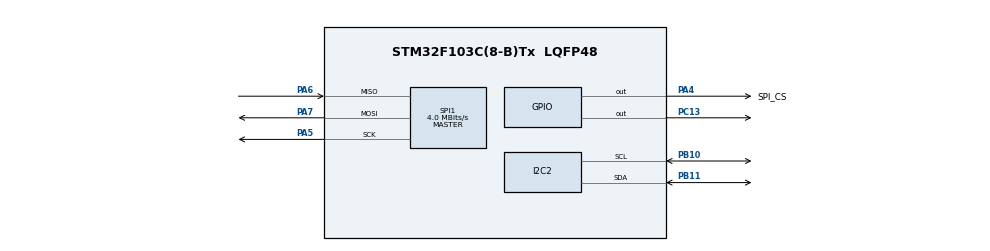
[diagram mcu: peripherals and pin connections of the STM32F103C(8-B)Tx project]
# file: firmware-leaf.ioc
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FREERTOS.Tasks01=defaultTask,24,128,StartDefaultTask,Default,NULL,Dynamic,NULL,NULL
FREERTOS.configTOTAL_HEAP_SIZE=8192
Mcu.Family=STM32F1
Mcu.Name=STM32F103C(8-B)Tx
Mcu.Package=LQFP48
NVIC.PriorityGroup=NVIC_PRIORITYGROUP_4
NVIC.TIM1_UP_IRQn=true\:15\:0\:false\:false\:true\:false\:false\:true\:true
NVIC.TimeBase=TIM1_UP_IRQn
NVIC.TimeBaseIP=TIM1
PA13.Mode=Serial_Wire
PA13.Signal=SYS_JTMS-SWDIO
PA14.Mode=Serial_Wire
PA14.Signal=SYS_JTCK-SWCLK
PA4.GPIO_Label=SPI_CS
PA4.PinState=GPIO_PIN_SET
PA4.Signal=GPIO_Output
PA5.Mode=Full_Duplex_Master
PA5.Signal=SPI1_SCK
PA6.Mode=Full_Duplex_Master
PA6.Signal=SPI1_MISO
PA7.Mode=Full_Duplex_Master
PA7.Signal=SPI1_MOSI
PB10.Mode=I2C
PB10.Signal=I2C2_SCL
PB11.Mode=I2C
PB11.Signal=I2C2_SDA
PC13-TAMPER-RTC.Signal=GPIO_Output
PC14-OSC32_IN.Mode=LSE-External-Oscillator
PC14-OSC32_IN.Signal=RCC_OSC32_IN
PC15-OSC32_OUT.Mode=LSE-External-Oscillator
PC15-OSC32_OUT.Signal=RCC_OSC32_OUT
PD0-OSC_IN.Mode=HSE-External-Oscillator
PD0-OSC_IN.Signal=RCC_OSC_IN
PD1-OSC_OUT.Mode=HSE-External-Oscillator
PD1-OSC_OUT.Signal=RCC_OSC_OUT
ProjectManager.HeapSize=0x200
ProjectManager.StackSize=0x400
ProjectManager.TargetToolchain=CMake
RCC.APB1Freq_Value=8000000
RCC.APB2Freq_Value=8000000
RCC.RTCClockSelection=RCC_RTCCLKSOURCE_LSE
RTC.OutPut=RTC_OUTPUTSOURCE_NONE
SPI1.CalculateBaudRate=4.0 MBits/s
SPI1.Direction=SPI_DIRECTION_2LINES
SPI1.Mode=SPI_MODE_MASTER
SPI1.VirtualType=VM_MASTER
VP_FREERTOS_VS_CMSIS_V2.Mode=CMSIS_V2
VP_RTC_VS_RTC_Activate.Mode=RTC_Enabled
VP_SYS_VS_tim1.Mode=TIM1
board=custom

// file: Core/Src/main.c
/* USER CODE BEGIN Header */
/**
  ******************************************************************************
  * @file           : main.c
  * @brief          : Main program body
  ******************************************************************************
  * @attention
  *
  * Copyright (c) 2026 STMicroelectronics.
  * All rights reserved.
  *
  * This software is licensed under terms that can be found in the LICENSE file
  * in the root directory of this software component.
  * If no LICENSE file comes with this software, it is provided AS-IS.
  *
  ******************************************************************************
  */
/* USER CODE END Header */
#include "main.h"
#include "cmsis_os.h"

/* USER CODE BEGIN Includes */
#include "tasks.h"
#include "power.h"
/* USER CODE END Includes */

I2C_HandleTypeDef hi2c2;

RTC_HandleTypeDef hrtc;

SPI_HandleTypeDef hspi1;

/* Definitions for defaultTask */
osThreadId_t defaultTaskHandle;
const osThreadAttr_t defaultTask_attributes = {
  .name = "defaultTask",
  .stack_size = 128 * 4,
  .priority = (osPriority_t) osPriorityNormal,
};
/* USER CODE BEGIN PV */
static SHT40_Handle_t sht_handle;
/* USER CODE END PV */

void SystemClock_Config(void);
static void MX_GPIO_Init(void);
static void MX_I2C2_Init(void);
static void MX_RTC_Init(void);
static void MX_SPI1_Init(void);
void StartDefaultTask(void *argument);

int main(void)
{

  /* MCU Configuration--------------------------------------------------------*/

  /* Reset of all peripherals, Initializes the Flash interface and the Systick. */
  HAL_Init();

  /* USER CODE BEGIN Init */
#ifdef DEBUG
  HAL_DBGMCU_EnableDBGStopMode();
#endif
  /* USER CODE END Init */

  /* Configure the system clock */
  SystemClock_Config();

  /* Initialize all configured peripherals */
  MX_GPIO_Init();
  MX_I2C2_Init();
  MX_RTC_Init();
  MX_SPI1_Init();
  /* USER CODE BEGIN 2 */
  bool init_ok = true;
  if (SHT40_Init(&sht_handle, &hi2c2, SHT40_ADDRESS) != SHT40_OK) init_ok = false;
  HAL_GPIO_WritePin(GPIOC, GPIO_PIN_13, init_ok ? GPIO_PIN_SET : GPIO_PIN_RESET);
  /* USER CODE END 2 */

  /* Init scheduler */
  osKernelInitialize();

  /* Create the thread(s) */
  /* creation of defaultTask */
  defaultTaskHandle = osThreadNew(StartDefaultTask, NULL, &defaultTask_attributes);

  /* USER CODE BEGIN RTOS_THREADS */
  if (!Tasks_Init(&sht_handle)) Error_Handler();
  /* USER CODE END RTOS_THREADS */

  /* Start scheduler */
  osKernelStart();

  /* We should never get here as control is now taken by the scheduler */

  /* Infinite loop */
  while (1)
  {

  }
}

void SystemClock_Config(void)
{
  RCC_OscInitTypeDef RCC_OscInitStruct = {0};
  RCC_ClkInitTypeDef RCC_ClkInitStruct = {0};
  RCC_PeriphCLKInitTypeDef PeriphClkInit = {0};

  /** Initializes the RCC Oscillators according to the specified parameters
  * in the RCC_OscInitTypeDef structure.
  */
  RCC_OscInitStruct.OscillatorType = RCC_OSCILLATORTYPE_HSI|RCC_OSCILLATORTYPE_LSE;
  RCC_OscInitStruct.LSEState = RCC_LSE_ON;
  RCC_OscInitStruct.HSIState = RCC_HSI_ON;
  RCC_OscInitStruct.HSICalibrationValue = RCC_HSICALIBRATION_DEFAULT;
  RCC_OscInitStruct.PLL.PLLState = RCC_PLL_NONE;
  if (HAL_RCC_OscConfig(&RCC_OscInitStruct) != HAL_OK)
  {
    Error_Handler();
  }

  /** Initializes the CPU, AHB and APB buses clocks
  */
  RCC_ClkInitStruct.ClockType = RCC_CLOCKTYPE_HCLK|RCC_CLOCKTYPE_SYSCLK
                              |RCC_CLOCKTYPE_PCLK1|RCC_CLOCKTYPE_PCLK2;
  RCC_ClkInitStruct.SYSCLKSource = RCC_SYSCLKSOURCE_HSI;
  RCC_ClkInitStruct.AHBCLKDivider = RCC_SYSCLK_DIV1;
  RCC_ClkInitStruct.APB1CLKDivider = RCC_HCLK_DIV1;
  RCC_ClkInitStruct.APB2CLKDivider = RCC_HCLK_DIV1;

  if (HAL_RCC_ClockConfig(&RCC_ClkInitStruct, FLASH_LATENCY_0) != HAL_OK)
  {
    Error_Handler();
  }
  PeriphClkInit.PeriphClockSelection = RCC_PERIPHCLK_RTC;
  PeriphClkInit.RTCClockSelection = RCC_RTCCLKSOURCE_LSE;
  if (HAL_RCCEx_PeriphCLKConfig(&PeriphClkInit) != HAL_OK)
  {
    Error_Handler();
  }
}

static void MX_I2C2_Init(void)
{

  hi2c2.Instance = I2C2;
  hi2c2.Init.ClockSpeed = 100000;
  hi2c2.Init.DutyCycle = I2C_DUTYCYCLE_2;
  hi2c2.Init.OwnAddress1 = 0;
  hi2c2.Init.AddressingMode = I2C_ADDRESSINGMODE_7BIT;
  hi2c2.Init.DualAddressMode = I2C_DUALADDRESS_DISABLE;
  hi2c2.Init.OwnAddress2 = 0;
  hi2c2.Init.GeneralCallMode = I2C_GENERALCALL_DISABLE;
  hi2c2.Init.NoStretchMode = I2C_NOSTRETCH_DISABLE;
  if (HAL_I2C_Init(&hi2c2) != HAL_OK)
  {
    Error_Handler();
  }

}

static void MX_RTC_Init(void)
{

  /** Initialize RTC Only
  */
  hrtc.Instance = RTC;
  hrtc.Init.AsynchPrediv = RTC_AUTO_1_SECOND;
  hrtc.Init.OutPut = RTC_OUTPUTSOURCE_NONE;
  if (HAL_RTC_Init(&hrtc) != HAL_OK)
  {
    Error_Handler();
  }

}

static void MX_SPI1_Init(void)
{

  /* SPI1 parameter configuration*/
  hspi1.Instance = SPI1;
  hspi1.Init.Mode = SPI_MODE_MASTER;
  hspi1.Init.Direction = SPI_DIRECTION_2LINES;
  hspi1.Init.DataSize = SPI_DATASIZE_8BIT;
  hspi1.Init.CLKPolarity = SPI_POLARITY_LOW;
  hspi1.Init.CLKPhase = SPI_PHASE_1EDGE;
  hspi1.Init.NSS = SPI_NSS_SOFT;
  hspi1.Init.BaudRatePrescaler = SPI_BAUDRATEPRESCALER_2;
  hspi1.Init.FirstBit = SPI_FIRSTBIT_MSB;
  hspi1.Init.TIMode = SPI_TIMODE_DISABLE;
  hspi1.Init.CRCCalculation = SPI_CRCCALCULATION_DISABLE;
  hspi1.Init.CRCPolynomial = 10;
  if (HAL_SPI_Init(&hspi1) != HAL_OK)
  {
    Error_Handler();
  }

}

static void MX_GPIO_Init(void)
{
  GPIO_InitTypeDef GPIO_InitStruct = {0};

  /* GPIO Ports Clock Enable */
  __HAL_RCC_GPIOC_CLK_ENABLE();
  __HAL_RCC_GPIOD_CLK_ENABLE();
  __HAL_RCC_GPIOA_CLK_ENABLE();
  __HAL_RCC_GPIOB_CLK_ENABLE();

  /*Configure GPIO pin Output Level */
  HAL_GPIO_WritePin(GPIOC, GPIO_PIN_13, GPIO_PIN_RESET);

  /*Configure GPIO pin Output Level */
  HAL_GPIO_WritePin(SPI_CS_GPIO_Port, SPI_CS_Pin, GPIO_PIN_SET);

  /*Configure GPIO pin : PC13 */
  GPIO_InitStruct.Pin = GPIO_PIN_13;
  GPIO_InitStruct.Mode = GPIO_MODE_OUTPUT_PP;
  GPIO_InitStruct.Pull = GPIO_NOPULL;
  GPIO_InitStruct.Speed = GPIO_SPEED_FREQ_LOW;
  HAL_GPIO_Init(GPIOC, &GPIO_InitStruct);

  /*Configure GPIO pin : SPI_CS_Pin */
  GPIO_InitStruct.Pin = SPI_CS_Pin;
  GPIO_InitStruct.Mode = GPIO_MODE_OUTPUT_PP;
  GPIO_InitStruct.Pull = GPIO_NOPULL;
  GPIO_InitStruct.Speed = GPIO_SPEED_FREQ_LOW;
  HAL_GPIO_Init(SPI_CS_GPIO_Port, &GPIO_InitStruct);

}

/* USER CODE BEGIN 4 */
void HAL_RTCEx_WakeUpTimerEventCallback(RTC_HandleTypeDef *hrtc)
{

}
/* USER CODE END 4 */

void StartDefaultTask(void *argument)
{
  /* USER CODE BEGIN 5 */
  for(;;)
  {
    xTaskNotifyGive(sht40_task_handle);

    xEventGroupWaitBits(xSyncEventGroup,
                        FLAG_SHT_DONE,
                        pdTRUE,
                        pdTRUE,
                        portMAX_DELAY);

    // TODO LoRa Transmit

    //Power_Enter_Stop_Mode(300, NULL);
    vTaskDelay(pdMS_TO_TICKS(1000));
  }
  /* USER CODE END 5 */
}

void HAL_TIM_PeriodElapsedCallback(TIM_HandleTypeDef *htim)
{
  if (htim->Instance == TIM1)
  {
    HAL_IncTick();
  }
}

void Error_Handler(void)
{
  /* USER CODE BEGIN Error_Handler_Debug */
  /* User can add his own implementation to report the HAL error return state */
  __disable_irq();
  __HAL_RCC_GPIOC_CLK_ENABLE();
  GPIO_InitTypeDef led = { .Pin = GPIO_PIN_13, .Mode = GPIO_MODE_OUTPUT_PP };
  HAL_GPIO_Init(GPIOC, &led);
  while (1)
  {
    HAL_GPIO_TogglePin(GPIOC, GPIO_PIN_13);
    for (volatile uint32_t i = 0; i < 400000; i++);
  }
  /* USER CODE END Error_Handler_Debug */
}
